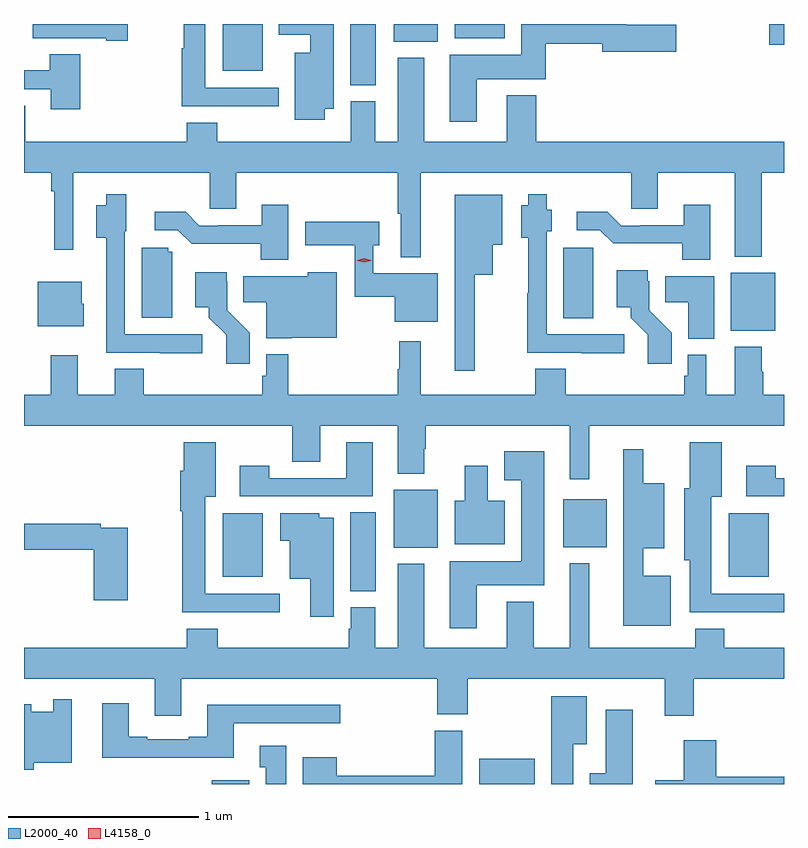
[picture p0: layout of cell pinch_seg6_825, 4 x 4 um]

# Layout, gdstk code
import gdstk
lib = gdstk.Library(unit=1e-6, precision=1e-09)
def R(c, l, rs):  # rectangles x0, y0, x1, y1
    for r in rs: c.add(gdstk.rectangle(r[:2], r[2:], *l))
def P(c, l, *ps):  # polygons
    for p in ps: c.add(gdstk.Polygon(p, *l))
L2000_40 = (2000, 40)
L4158_0 = (4158, 0)

pinch_seg6_825 = lib.new_cell('pinch_seg6_825')
R(pinch_seg6_825, L2000_40, [(125.327,980.083,125.524,980.104), (126.734,980.083,127.027,980.215), (126.056,981.097,126.19,981.512), (125.384,981.173,125.596,981.508), (128.048,981.173,128.26,981.508), (126.284,981.326,126.517,981.631), (127.178,981.329,127.405,981.583), (128.06,982.469,128.293,982.774), (127.178,982.534,127.336,982.905), (126.056,983.761,126.19,984.083), (125.384,983.837,125.596,984.083), (128.262,983.975,128.339,984.083), (126.284,983.99,126.517,984.083), (126.605,984.008,126.868,984.083)])
P(pinch_seg6_825, L2000_40, [(125.68,983.748),(125.293,983.748),(125.293,984.083),(125.18,984.083),(125.18,983.955),(125.168,983.955),(125.168,983.651),(125.68,983.651)],
  [(125.923,983.636),(125.968,983.636),(125.968,984.083),(125.681,984.083),(125.681,984.026),(125.846,984.026),(125.846,983.932),(125.765,983.932),(125.765,983.58),(125.923,983.58)],
  [(124.885,984.083),(124.384,984.083),(124.384,984.008),(124.772,984.008),(124.772,983.996),(124.885,983.996)],
  [(126.721,983.792),(127.086,983.792),(127.086,983.98),(127.382,983.98),(127.382,983.938),(127.771,983.938),(127.771,984.08),(127.51,984.08),(127.51,984.083),(126.956,984.083),(126.956,983.92),(126.581,983.92),(126.581,983.568),(126.721,983.568)],
  [(124.634,983.923),(124.474,983.923),(124.474,983.839),(124.339,983.839),(124.339,983.739),(124.481,983.739),(124.481,983.634),(124.634,983.634)],
  [(126.427,983.3),(127.536,983.3),(127.536,983.11),(127.675,983.11),(127.675,983.3),(128.081,983.3),(128.081,982.859),(128.221,982.859),(128.221,983.3),(128.339,983.3),(128.339,983.464),(127.034,983.464),(127.034,983.707),(126.881,983.707),(126.881,983.464),(126.445,983.464),(126.445,983.905),(126.305,983.905),(126.305,983.464),(126.187,983.464),(126.187,983.676),(126.059,983.676),(126.059,983.464),(125.355,983.464),(125.355,983.563),(125.195,983.563),(125.195,983.464),(124.345,983.464),(124.345,983.654),(124.339,983.654),(124.339,983.3),(124.483,983.3),(124.483,983.204),(124.498,983.204),(124.498,982.896),(124.599,982.896),(124.599,983.3),(125.316,983.3),(125.316,983.11),(125.455,983.11),(125.455,983.3),(126.306,983.3),(126.306,983.084),(126.323,983.084),(126.323,982.856),(126.427,982.856)],
  [(125.278,982.449),(124.869,982.449),(124.869,982.992),(124.876,982.992),(124.876,983.188),(124.772,983.188),(124.772,983.128),(124.718,983.128),(124.718,982.958),(124.772,982.958),(124.772,982.722),(124.773,982.722),(124.773,982.353),(125.053,982.353),(125.053,982.351),(125.278,982.351)],
  [(127.498,982.449),(127.089,982.449),(127.089,982.992),(127.117,982.992),(127.117,983.106),(127.09,983.106),(127.09,983.188),(126.992,983.188),(126.992,983.128),(126.956,983.128),(126.956,982.958),(126.992,982.958),(126.992,982.665),(126.988,982.665),(126.988,982.353),(127.273,982.353),(127.273,982.351),(127.498,982.351)],
  [(126.712,982.763),(126.805,982.763),(126.805,982.922),(126.856,982.922),(126.856,983.185),(126.605,983.185),(126.605,982.257),(126.712,982.257)],
  [(127.951,983.131),(127.811,983.131),(127.811,983.025),(127.582,983.025),(127.582,983.022),(127.482,983.022),(127.409,983.095),(127.248,983.095),(127.248,982.998),(127.368,982.998),(127.439,982.928),(127.804,982.928),(127.804,982.841),(127.951,982.841)],
  [(125.731,983.131),(125.591,983.131),(125.591,983.025),(125.362,983.025),(125.362,983.022),(125.262,983.022),(125.189,983.095),(125.028,983.095),(125.028,982.998),(125.148,982.998),(125.221,982.926),(125.584,982.926),(125.584,982.841),(125.731,982.841)],
  [(126.517,982.771),(126.177,982.771),(126.177,982.919),(126.208,982.919),(126.208,983.041),(125.82,983.041),(125.82,982.919),(126.081,982.919),(126.081,982.648),(126.29,982.648),(126.29,982.517),(126.517,982.517)],
  [(125.119,982.884),(125.097,982.884),(125.097,982.905),(124.958,982.905),(124.958,982.536),(125.119,982.536)],
  [(127.748,982.458),(127.629,982.577),(127.629,982.728),(127.621,982.728),(127.621,982.786),(127.46,982.786),(127.46,982.592),(127.532,982.592),(127.532,982.537),(127.623,982.447),(127.623,982.296),(127.748,982.296)],
  [(125.748,982.433),(125.986,982.433),(125.986,982.777),(125.832,982.777),(125.832,982.756),(125.494,982.756),(125.494,982.618),(125.615,982.618),(125.615,982.43),(125.748,982.43)],
  [(125.528,982.458),(125.409,982.577),(125.409,982.728),(125.407,982.728),(125.407,982.777),(125.24,982.777),(125.24,982.592),(125.312,982.592),(125.312,982.537),(125.403,982.447),(125.403,982.296),(125.528,982.296)],
  [(127.972,982.756),(127.714,982.756),(127.714,982.618),(127.835,982.618),(127.835,982.427),(127.972,982.427)],
  [(124.654,982.611),(124.642,982.611),(124.642,982.726),(124.412,982.726),(124.412,982.493),(124.654,982.493)],
  [(127.315,981.968),(128.339,981.968),(128.339,982.132),(128.229,982.132),(128.229,982.253),(128.221,982.253),(128.221,982.384),(128.081,982.384),(128.081,982.132),(127.93,982.132),(127.93,982.342),(127.833,982.342),(127.833,982.233),(127.813,982.233),(127.813,982.132),(127.19,982.132),(127.19,982.268),(127.03,982.268),(127.03,982.132),(126.427,982.132),(126.427,982.414),(126.313,982.414),(126.313,982.265),(126.306,982.265),(126.306,982.132),(125.729,982.132),(125.729,982.345),(125.613,982.345),(125.613,982.233),(125.593,982.233),(125.593,982.132),(124.97,982.132),(124.97,982.268),(124.817,982.268),(124.817,982.132),(124.621,982.132),(124.621,982.339),(124.481,982.339),(124.481,982.132),(124.339,982.132),(124.339,981.968),(125.752,981.968),(125.752,981.778),(125.899,981.778),(125.899,981.968),(126.305,981.968),(126.305,981.716),(126.445,981.716),(126.445,981.848),(126.453,981.848),(126.453,981.968),(127.211,981.968),(127.211,981.687),(127.315,981.687)],
  [(128.339,981.084),(127.957,981.084),(127.957,981.596),(128.011,981.596),(128.011,981.883),(127.844,981.883),(127.844,981.64),(127.814,981.64),(127.814,981.26),(127.844,981.26),(127.844,980.987),(128.339,980.987)],
  [(126.175,981.883),(126.035,981.883),(126.035,981.693),(125.631,981.693),(125.631,981.757),(125.475,981.757),(125.475,981.597),(126.175,981.597)],
  [(125.686,981.084),(125.293,981.084),(125.293,981.596),(125.347,981.596),(125.347,981.883),(125.18,981.883),(125.18,981.732),(125.162,981.732),(125.162,981.518),(125.173,981.518),(125.173,980.987),(125.686,980.987)],
  [(127.744,981.178),(127.597,981.178),(127.597,981.323),(127.708,981.323),(127.708,981.667),(127.597,981.667),(127.597,981.844),(127.493,981.844),(127.493,980.915),(127.744,980.915)],
  [(126.721,981.128),(127.078,981.128),(127.078,981.835),(126.866,981.835),(126.866,981.683),(126.956,981.683),(126.956,981.256),(126.581,981.256),(126.581,980.904),(126.721,980.904)],
  [(128.339,981.693),(128.295,981.693),(128.295,981.757),(128.139,981.757),(128.139,981.597),(128.339,981.597)],
  [(126.868,981.574),(126.781,981.574),(126.781,981.757),(126.659,981.757),(126.659,981.574),(126.605,981.574),(126.605,981.344),(126.868,981.344)],
  [(125.968,981.484),(125.892,981.484),(125.892,981.508),(125.687,981.508),(125.687,981.362),(125.738,981.362),(125.738,981.164),(125.846,981.164),(125.846,980.964),(125.968,980.964)],
  [(124.884,981.432),(124.742,981.432),(124.742,981.452),(124.339,981.452),(124.339,981.316),(124.706,981.316),(124.706,981.051),(124.884,981.051)],
  [(125.167,980.636),(126.515,980.636),(126.515,980.449),(126.675,980.449),(126.675,980.636),(127.712,980.636),(127.712,980.442),(127.865,980.442),(127.865,980.636),(128.339,980.636),(128.339,980.8),(128.024,980.8),(128.024,980.899),(127.871,980.899),(127.871,980.8),(127.315,980.8),(127.315,981.244),(127.211,981.244),(127.211,980.8),(127.021,980.8),(127.021,981.043),(126.881,981.043),(126.881,980.8),(126.445,980.8),(126.445,981.241),(126.305,981.241),(126.305,980.8),(126.187,980.8),(126.187,981.012),(126.059,981.012),(126.059,980.901),(126.047,980.901),(126.047,980.8),(125.36,980.8),(125.36,980.899),(125.195,980.899),(125.195,980.8),(124.339,980.8),(124.339,980.636),(125.027,980.636),(125.027,980.442),(125.167,980.442)],
  [(127.231,980.291),(127.3,980.291),(127.3,980.545),(127.115,980.545),(127.115,980.083),(127.231,980.083)],
  [(124.391,980.195),(124.59,980.195),(124.59,980.53),(124.494,980.53),(124.494,980.464),(124.378,980.464),(124.378,980.503),(124.339,980.503),(124.339,980.159),(124.391,980.159)],
  [(125.443,980.403),(126.004,980.403),(126.004,980.5),(125.303,980.5),(125.303,980.332),(125.207,980.332),(125.207,980.319),(124.987,980.319),(124.987,980.332),(124.891,980.332),(124.891,980.509),(124.751,980.509),(124.751,980.222),(125.443,980.222)],
  [(127.543,980.473),(127.4,980.473),(127.4,980.14),(127.316,980.14),(127.316,980.083),(127.543,980.083)],
  [(126.646,980.364),(126.5,980.364),(126.5,980.126),(125.986,980.126),(125.986,980.224),(125.807,980.224),(125.807,980.083),(126.646,980.083)],
  [(128.339,980.12),(127.982,980.12),(127.982,980.314),(127.811,980.314),(127.811,980.103),(127.662,980.103),(127.662,980.083),(128.339,980.083)],
  [(125.719,980.284),(125.579,980.284),(125.579,980.171),(125.612,980.171),(125.612,980.083),(125.719,980.083)])
P(pinch_seg6_825, L4158_0, [(126.13,982.829),(126.094,982.838),(126.093,982.839),(126.094,982.839),(126.13,982.849),(126.165,982.839),(126.166,982.839),(126.165,982.838)])

lib.write_gds('pinch_seg6_825.gds')
